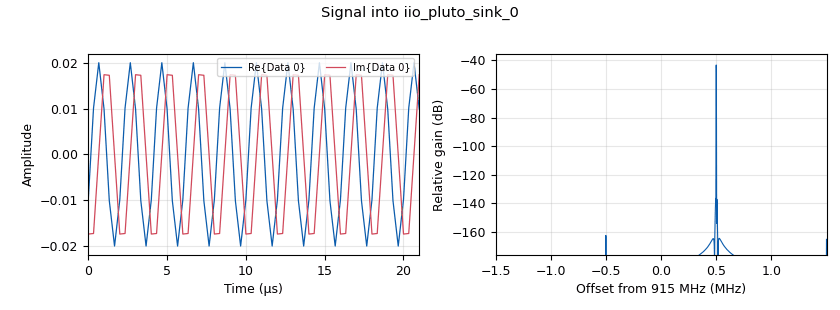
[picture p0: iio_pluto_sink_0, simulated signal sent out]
options:
  parameters:
    author: MR
    generate_options: no_gui
    id: Tx_Tone_Pluto
    output_language: python
    run_options: run
    title: 'Transmit Tone '
  states: {}

blocks:
- name: analog_sig_source_x_0
  id: analog_sig_source_x
  parameters:
    amp: tone_amp
    freq: tone_freq
    offset: '0'
    phase: '0'
    samp_rate: samp_rate
    type: complex
    waveform: analog.GR_COS_WAVE
  states: {}
- name: analog_sig_source_x_0_0
  id: analog_sig_source_x
  parameters:
    amp: '1'
    freq: 0.2e6
    offset: '0'
    phase: '0'
    samp_rate: samp_rate
    type: complex
    waveform: analog.GR_COS_WAVE
  states: {state: disabled}
- name: fc
  id: parameter
  parameters:
    label: 'Center Frequency '
    short_id: c
    type: eng_float
    value: int(915e6)
  states: {}
- name: iio_pluto_sink_0
  id: iio_pluto_sink
  parameters:
    attenuation1: (tx_gain*1.001) - tx_gain
    bandwidth: '1000000'
    buffer_size: '32768'
    cyclic: 'False'
    filter_source: '''Auto'''
    frequency: fc
    samplerate: int(samp_rate)
    type: fc32
    uri: '"ip:192.168.2.1"'
  states: {}
- name: iio_pluto_sink_0_0
  id: iio_pluto_sink
  parameters:
    attenuation1: '10.0'
    bandwidth: '200000'
    buffer_size: '32768'
    cyclic: 'False'
    filter_source: '''Auto'''
    frequency: '915000000'
    samplerate: samp_rate
    type: fc32
    uri: tx_addr
  states: {state: disabled}
- name: iio_pluto_source_0
  id: iio_pluto_source
  parameters:
    bandwidth: '1000000'
    bbdc: 'True'
    buffer_size: '16384'
    filter_source: '''Auto'''
    frequency: '915000000'
    gain1: '''hybrid'''
    manual_gain1: '50'
    quadrature: 'True'
    rfdc: 'True'
    samplerate: samp_rate
    type: fc32
    uri: ip:192.168.2.1
  states: {state: disabled}
- name: node
  id: parameter
  parameters:
    label: Node Number
    short_id: n
    type: str
    value: '101'
  states: {}
- name: note_0
  id: note
  parameters:
    note: PlutoSDR receiving (i.e., Source blocks for receive generated signal)
  states: {state: disabled}
- name: note_0_0
  id: note
  parameters:
    note: PlutoSDR transmitt original (i.e., Source blocks for receive generated signal)
  states: {state: disabled}
- name: qtgui_sink_x_0
  id: qtgui_sink_x
  parameters:
    bw: samp_rate
    fc: 915e6
    fftsize: '2048'
    showrf: 'True'
    type: complex
  states: {state: disabled}
- name: samp_rate
  id: parameter
  parameters:
    label: Sample Rate
    short_id: a
    type: eng_float
    value: 3e6
  states: {}
- name: tone_amp
  id: parameter
  parameters:
    label: Tone Amplitude (tone)
    short_id: t
    type: eng_float
    value: '0.02'
  states: {}
- name: tone_freq
  id: parameter
  parameters:
    label: Tone Frequency (Relative to fc)
    short_id: f
    type: eng_float
    value: 500e3
  states: {}
- name: tx_gain
  id: parameter
  parameters:
    label: 'Transmitter Gain '
    short_id: g
    type: eng_float
    value: '40'
  states: {}
- name: xmlrpc_server_0
  id: xmlrpc_server
  parameters:
    addr: '"10.1.1." + node'
    port: '8080'
  states: {}

connections:
- [analog_sig_source_x_0, '0', iio_pluto_sink_0, '0']
- [analog_sig_source_x_0_0, '0', iio_pluto_sink_0_0, '0']
- [iio_pluto_source_0, '0', qtgui_sink_x_0, '0']

metadata:
  file_format: 1
  grc_version: 3.10.11.0
